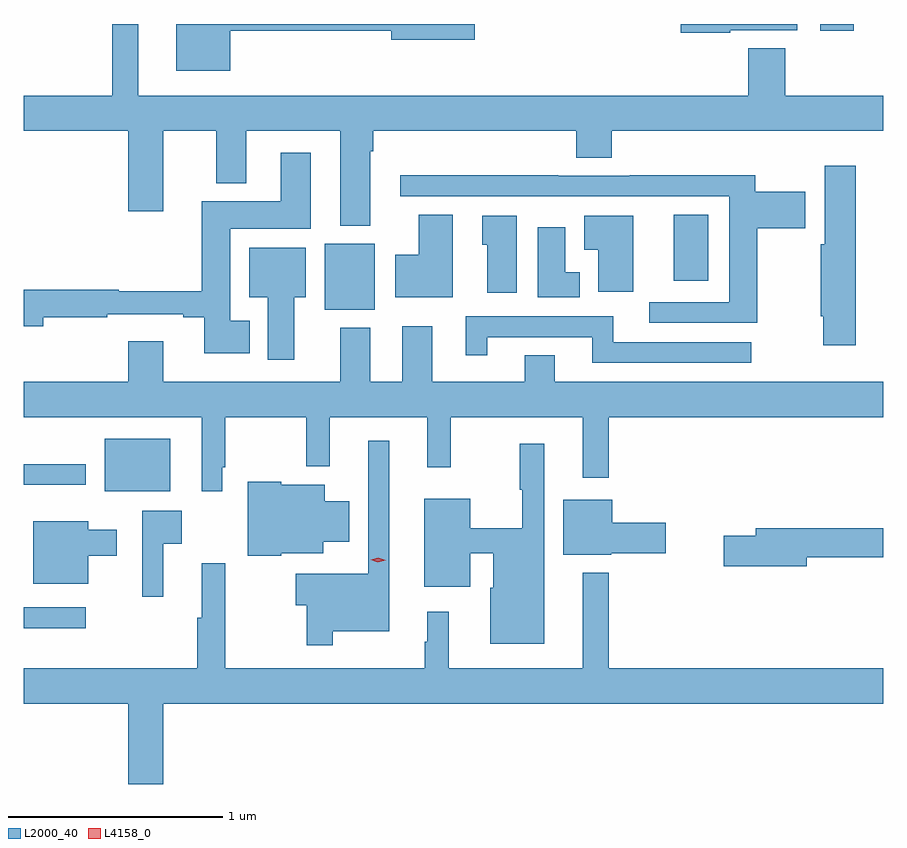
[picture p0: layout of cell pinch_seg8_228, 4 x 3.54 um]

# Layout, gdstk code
import gdstk
lib = gdstk.Library(unit=1e-6, precision=1e-09)
def R(c, l, rs):  # rectangles x0, y0, x1, y1
    for r in rs: c.add(gdstk.rectangle(r[:2], r[2:], *l))
def P(c, l, *ps):  # polygons
    for p in ps: c.add(gdstk.Polygon(p, *l))
L2000_40 = (2000, 40)
L4158_0 = (4158, 0)

pinch_seg8_228 = lib.new_cell('pinch_seg8_228')
R(pinch_seg8_228, L2000_40, [(632.054,1116.851,632.344,1116.948), (632.432,1117.487,632.737,1117.732), (632.054,1117.517,632.344,1117.614), (633.455,1118.333,633.688,1118.638), (635.078,1118.466,635.239,1118.774), (635.759,1119.63,635.915,1119.661)])
P(pinch_seg8_228, L2000_40, [(633.667,1119.068),(633.68,1119.068),(633.68,1119.164),(634.625,1119.164),(634.625,1119.04),(634.79,1119.04),(634.79,1119.164),(636.054,1119.164),(636.054,1119.328),(635.597,1119.328),(635.597,1119.548),(635.426,1119.548),(635.426,1119.328),(632.587,1119.328),(632.587,1119.661),(632.466,1119.661),(632.466,1119.328),(632.054,1119.328),(632.054,1119.164),(632.54,1119.164),(632.54,1118.79),(632.704,1118.79),(632.704,1119.164),(632.951,1119.164),(632.951,1118.921),(633.091,1118.921),(633.091,1119.164),(633.527,1119.164),(633.527,1118.723),(633.667,1118.723)],
  [(633.016,1119.63),(633.764,1119.63),(633.764,1119.587),(634.153,1119.587),(634.153,1119.661),(632.765,1119.661),(632.765,1119.443),(633.016,1119.443)],
  [(635.342,1119.633),(635.652,1119.633),(635.652,1119.661),(635.112,1119.661),(635.112,1119.621),(635.342,1119.621)],
  [(633.106,1118.281),(633.016,1118.281),(633.016,1118.708),(633.391,1118.708),(633.391,1119.061),(633.251,1119.061),(633.251,1118.836),(632.882,1118.836),(632.882,1118.419),(632.498,1118.419),(632.498,1118.426),(632.054,1118.426),(632.054,1118.255),(632.146,1118.255),(632.146,1118.298),(632.444,1118.298),(632.444,1118.31),(632.798,1118.31),(632.798,1118.298),(632.894,1118.298),(632.894,1118.129),(633.106,1118.129)],
  [(635.926,1119.001),(635.78,1119.001),(635.78,1118.637),(635.762,1118.637),(635.762,1118.301),(635.773,1118.301),(635.773,1118.166),(635.926,1118.166)],
  [(635.466,1118.711),(635.689,1118.711),(635.689,1118.881),(635.458,1118.881),(635.458,1118.957),(634.873,1118.957),(634.873,1118.955),(634.541,1118.955),(634.541,1118.957),(633.807,1118.957),(633.807,1118.859),(635.336,1118.859),(635.336,1118.367),(634.965,1118.367),(634.965,1118.271),(635.466,1118.271)],
  [(634.051,1118.774),(633.893,1118.774),(633.893,1118.587),(633.782,1118.587),(633.782,1118.39),(634.051,1118.39)],
  [(634.348,1118.77),(634.187,1118.77),(634.187,1118.634),(634.211,1118.634),(634.211,1118.412),(634.348,1118.412)],
  [(634.891,1118.77),(634.662,1118.77),(634.662,1118.612),(634.727,1118.612),(634.727,1118.415),(634.891,1118.415)],
  [(634.642,1118.506),(634.573,1118.506),(634.573,1118.716),(634.445,1118.716),(634.445,1118.39),(634.642,1118.39)],
  [(633.313,1118.39),(633.367,1118.39),(633.367,1118.62),(633.104,1118.62),(633.104,1118.39),(633.191,1118.39),(633.191,1118.1),(633.313,1118.1)],
  [(635.44,1118.181),(634.798,1118.181),(634.798,1118.301),(634.112,1118.301),(634.112,1118.121),(634.21,1118.121),(634.21,1118.205),(634.7,1118.205),(634.7,1118.085),(635.44,1118.085)],
  [(632.704,1118.185),(632.54,1118.185),(632.54,1117.996),(632.054,1117.996),(632.054,1117.832),(632.882,1117.832),(632.882,1117.488),(632.979,1117.488),(632.979,1117.6),(632.992,1117.6),(632.992,1117.832),(633.369,1117.832),(633.369,1117.604),(633.479,1117.604),(633.479,1117.832),(633.932,1117.832),(633.932,1117.599),(634.042,1117.599),(634.042,1117.832),(634.655,1117.832),(634.655,1117.551),(634.777,1117.551),(634.777,1117.832),(636.054,1117.832),(636.054,1117.996),(634.525,1117.996),(634.525,1118.12),(634.385,1118.12),(634.385,1117.996),(633.955,1117.996),(633.955,1118.254),(633.815,1118.254),(633.815,1117.996),(633.667,1117.996),(633.667,1118.248),(633.527,1118.248),(633.527,1117.996),(632.704,1117.996)],
  [(633.493,1116.836),(633.754,1116.836),(633.754,1117.723),(633.657,1117.723),(633.657,1117.105),(633.32,1117.105),(633.32,1116.958),(633.372,1116.958),(633.372,1116.771),(633.493,1116.771)],
  [(634.477,1117.708),(634.363,1117.708),(634.363,1117.494),(634.373,1117.494),(634.373,1117.316),(634.132,1117.316),(634.132,1117.453),(633.917,1117.453),(633.917,1117.043),(634.132,1117.043),(634.132,1117.199),(634.238,1117.199),(634.238,1117.038),(634.226,1117.038),(634.226,1116.779),(634.477,1116.779)],
  [(633.252,1117.199),(633.448,1117.199),(633.448,1117.253),(633.568,1117.253),(633.568,1117.441),(633.454,1117.441),(633.454,1117.519),(633.252,1117.519),(633.252,1117.531),(633.098,1117.531),(633.098,1117.187),(633.252,1117.187)],
  [(634.788,1117.199),(635.041,1117.199),(635.041,1117.341),(634.792,1117.341),(634.792,1117.447),(634.565,1117.447),(634.565,1117.193),(634.788,1117.193)],
  [(632.705,1117.244),(632.791,1117.244),(632.791,1117.396),(632.607,1117.396),(632.607,1116.996),(632.705,1116.996)],
  [(632.356,1117.187),(632.488,1117.187),(632.488,1117.309),(632.356,1117.309),(632.356,1117.348),(632.099,1117.348),(632.099,1117.058),(632.356,1117.058)],
  [(635.698,1117.18),(636.054,1117.18),(636.054,1117.316),(635.459,1117.316),(635.459,1117.28),(635.31,1117.28),(635.31,1117.138),(635.698,1117.138)],
  [(632.704,1116.5),(636.054,1116.5),(636.054,1116.664),(634.777,1116.664),(634.777,1117.108),(634.655,1117.108),(634.655,1116.664),(634.031,1116.664),(634.031,1116.928),(633.932,1116.928),(633.932,1116.788),(633.921,1116.788),(633.921,1116.664),(632.992,1116.664),(632.992,1117.153),(632.882,1117.153),(632.882,1116.9),(632.863,1116.9),(632.863,1116.664),(632.054,1116.664),(632.054,1116.5),(632.54,1116.5),(632.54,1116.126),(632.704,1116.126)])
P(pinch_seg8_228, L4158_0, [(633.702,1117.158),(633.668,1117.17),(633.667,1117.17),(633.668,1117.17),(633.703,1117.178),(633.738,1117.167),(633.738,1117.167),(633.738,1117.167)])

lib.write_gds('pinch_seg8_228.gds')
